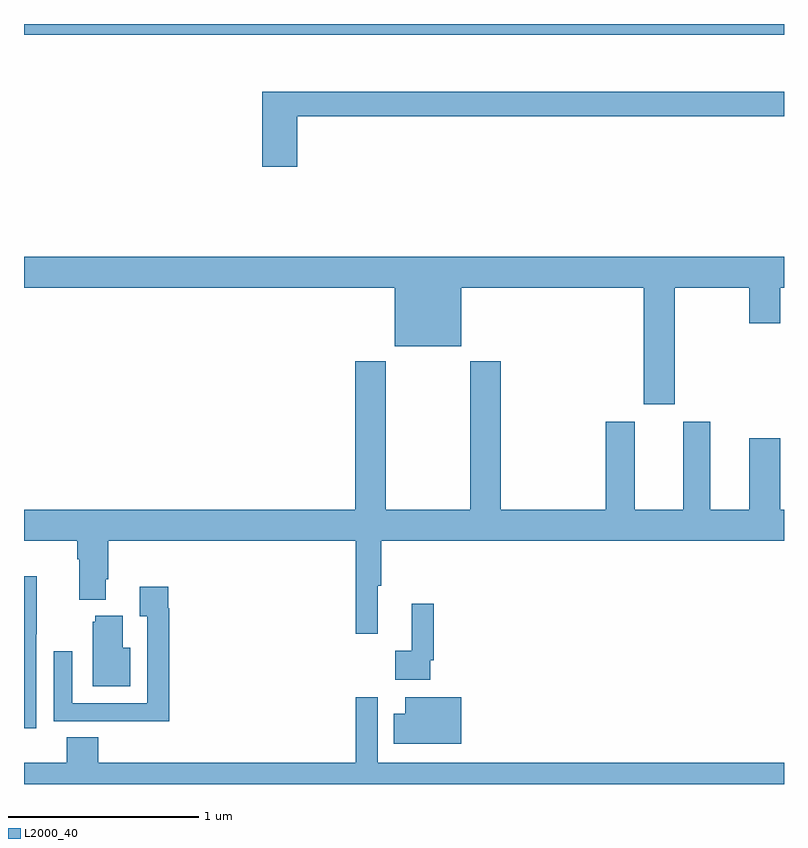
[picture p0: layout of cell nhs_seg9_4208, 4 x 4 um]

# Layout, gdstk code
import gdstk
lib = gdstk.Library(unit=1e-6, precision=1e-09)
def R(c, l, rs):  # rectangles x0, y0, x1, y1
    for r in rs: c.add(gdstk.rectangle(r[:2], r[2:], *l))
def P(c, l, *ps):  # polygons
    for p in ps: c.add(gdstk.Polygon(p, *l))
L2000_40 = (2000, 40)

nhs_seg9_4208 = lib.new_cell('nhs_seg9_4208')
R(nhs_seg9_4208, L2000_40, [(353,1172.444,357,1172.5)])
P(nhs_seg9_4208, L2000_40, [(354.437,1172.014),(357,1172.014),(357,1172.143),(354.254,1172.143),(354.254,1171.749),(354.437,1171.749)],
  [(356.425,1171.112),(356.816,1171.112),(356.816,1170.924),(356.98,1170.924),(356.98,1171.112),(357,1171.112),(357,1171.276),(353,1171.276),(353,1171.112),(354.95,1171.112),(354.95,1170.803),(355.3,1170.803),(355.3,1171.112),(356.261,1171.112),(356.261,1170.498),(356.425,1170.498)],
  [(354.863,1169.544),(354.881,1169.544),(354.881,1169.78),(357,1169.78),(357,1169.944),(356.98,1169.944),(356.98,1170.319),(356.816,1170.319),(356.816,1169.944),(356.611,1169.944),(356.611,1170.406),(356.471,1170.406),(356.471,1169.944),(356.215,1169.944),(356.215,1170.406),(356.063,1170.406),(356.063,1169.944),(355.508,1169.944),(355.508,1170.724),(355.348,1170.724),(355.348,1169.944),(354.903,1169.944),(354.903,1170.724),(354.743,1170.724),(354.743,1169.944),(353,1169.944),(353,1169.78),(353.279,1169.78),(353.279,1169.684),(353.291,1169.684),(353.291,1169.471),(353.431,1169.471),(353.431,1169.578),(353.444,1169.578),(353.444,1169.78),(354.745,1169.78),(354.745,1169.292),(354.863,1169.292)],
  [(353.064,1169.287),(353.067,1169.287),(353.067,1169.594),(353,1169.594),(353,1168.794),(353.064,1168.794)],
  [(353.765,1169.426),(353.758,1169.426),(353.758,1169.539),(353.609,1169.539),(353.609,1169.383),(353.649,1169.383),(353.649,1168.926),(353.253,1168.926),(353.253,1169.2),(353.157,1169.2),(353.157,1168.83),(353.473,1168.83),(353.473,1168.829),(353.765,1168.829)],
  [(355.137,1169.152),(355.157,1169.152),(355.157,1169.449),(355.04,1169.449),(355.04,1169.201),(354.954,1169.201),(354.954,1169.048),(355.137,1169.048)],
  [(353.56,1169.218),(353.521,1169.218),(353.521,1169.386),(353.375,1169.386),(353.375,1169.355),(353.363,1169.355),(353.363,1169.015),(353.56,1169.015)],
  [(353.39,1168.745),(353.225,1168.745),(353.225,1168.612),(353,1168.612),(353,1168.5),(357,1168.5),(357,1168.612),(354.861,1168.612),(354.861,1168.957),(354.745,1168.957),(354.745,1168.612),(353.39,1168.612)],
  [(355.3,1168.957),(355.007,1168.957),(355.007,1168.87),(354.946,1168.87),(354.946,1168.712),(355.3,1168.712)])

lib.write_gds('nhs_seg9_4208.gds')
